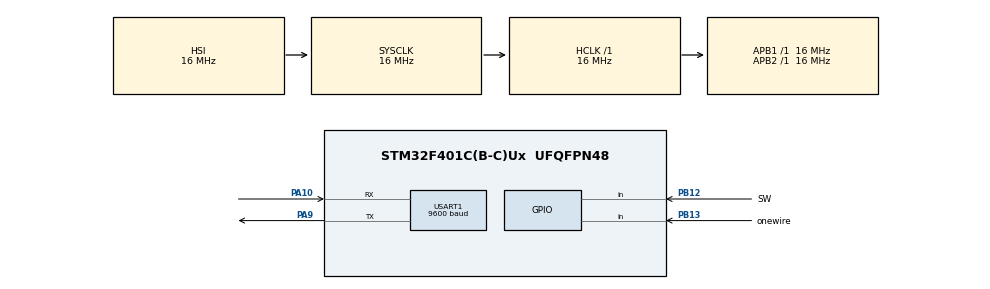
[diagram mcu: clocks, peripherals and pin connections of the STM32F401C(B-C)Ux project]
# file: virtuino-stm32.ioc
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Mcu.Family=STM32F4
Mcu.Name=STM32F401C(B-C)Ux
Mcu.Package=UFQFPN48
NVIC.PriorityGroup=NVIC_PRIORITYGROUP_4
PA10.Mode=Asynchronous
PA10.Signal=USART1_RX
PA9.Mode=Asynchronous
PA9.Signal=USART1_TX
PB12.GPIO_Label=SW
PB12.GPIO_PuPd=GPIO_PULLDOWN
PB12.Signal=GPIO_Input
PB13.GPIO_Label=onewire
PB13.Signal=GPIO_Input
ProjectManager.HeapSize=0x200
ProjectManager.StackSize=0x400
ProjectManager.TargetToolchain=STM32CubeIDE
RCC.AHBFreq_Value=16000000
RCC.APB1Freq_Value=16000000
RCC.APB2Freq_Value=16000000
RCC.CortexFreq_Value=16000000
RCC.HSE_VALUE=25000000
RCC.HSI_VALUE=16000000
RCC.LSE_VALUE=32768
RCC.SYSCLKFreq_VALUE=16000000
RCC.VCOOutputFreq_Value=192000000
USART1.BaudRate=9600
USART1.VirtualMode=VM_ASYNC
board=custom

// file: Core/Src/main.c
/* USER CODE BEGIN Header */
/**
  ******************************************************************************
  * @file           : main.c
  * @brief          : Main program body
  ******************************************************************************
  * @attention
  *
  * Copyright (c) 2025 STMicroelectronics.
  * All rights reserved.
  *
  * This software is licensed under terms that can be found in the LICENSE file
  * in the root directory of this software component.
  * If no LICENSE file comes with this software, it is provided AS-IS.
  *
  ******************************************************************************
  */
/* USER CODE END Header */
#include "main.h"

/* USER CODE BEGIN Includes */
#include "ds18b20.h"
#include"uart.h"
#include "pinout.h"

#include "stdio.h"
#include "stdint.h"
#include "stdlib.h"
#include "string.h"
/* USER CODE END Includes */

UART_HandleTypeDef huart1;

/* USER CODE BEGIN PV */
float temperatura;
char texto[100];
/* USER CODE END PV */

void SystemClock_Config(void);
static void MX_GPIO_Init(void);
static void MX_USART1_UART_Init(void);

int main(void)
{

  /* MCU Configuration--------------------------------------------------------*/

  /* Reset of all peripherals, Initializes the Flash interface and the Systick. */
  HAL_Init();

  /* Configure the system clock */
  SystemClock_Config();

  /* Initialize all configured peripherals */
  MX_GPIO_Init();
  MX_USART1_UART_Init();
  /* USER CODE BEGIN 2 */
 // uartx_write_text(&huart1, "HOLa\r\n");
     delay_Init();

  /* USER CODE END 2 */

  /* Infinite loop */
  /* USER CODE BEGIN WHILE */
  while (1)
  {

	  temperatura=DS18b20_temp();
	  //!A00=53.2$
	  sprintf(texto,"!A00=%.1f$",temperatura);
  uartx_write_text(&huart1, texto);

  if(PIN_READ(SW)==1)  uartx_write_text(&huart1, "!A01=1$");
  else  uartx_write_text(&huart1, "!A01=0$");

  delay_ms(200);
    /* USER CODE END WHILE */

  }
}

void SystemClock_Config(void)
{
  RCC_OscInitTypeDef RCC_OscInitStruct = {0};
  RCC_ClkInitTypeDef RCC_ClkInitStruct = {0};

  /** Configure the main internal regulator output voltage
  */
  __HAL_RCC_PWR_CLK_ENABLE();
  __HAL_PWR_VOLTAGESCALING_CONFIG(PWR_REGULATOR_VOLTAGE_SCALE2);

  /** Initializes the RCC Oscillators according to the specified parameters
  * in the RCC_OscInitTypeDef structure.
  */
  RCC_OscInitStruct.OscillatorType = RCC_OSCILLATORTYPE_HSI;
  RCC_OscInitStruct.HSIState = RCC_HSI_ON;
  RCC_OscInitStruct.HSICalibrationValue = RCC_HSICALIBRATION_DEFAULT;
  RCC_OscInitStruct.PLL.PLLState = RCC_PLL_NONE;
  if (HAL_RCC_OscConfig(&RCC_OscInitStruct) != HAL_OK)
  {
    Error_Handler();
  }

  /** Initializes the CPU, AHB and APB buses clocks
  */
  RCC_ClkInitStruct.ClockType = RCC_CLOCKTYPE_HCLK|RCC_CLOCKTYPE_SYSCLK
                              |RCC_CLOCKTYPE_PCLK1|RCC_CLOCKTYPE_PCLK2;
  RCC_ClkInitStruct.SYSCLKSource = RCC_SYSCLKSOURCE_HSI;
  RCC_ClkInitStruct.AHBCLKDivider = RCC_SYSCLK_DIV1;
  RCC_ClkInitStruct.APB1CLKDivider = RCC_HCLK_DIV1;
  RCC_ClkInitStruct.APB2CLKDivider = RCC_HCLK_DIV1;

  if (HAL_RCC_ClockConfig(&RCC_ClkInitStruct, FLASH_LATENCY_0) != HAL_OK)
  {
    Error_Handler();
  }
}

static void MX_USART1_UART_Init(void)
{

  huart1.Instance = USART1;
  huart1.Init.BaudRate = 9600;
  huart1.Init.WordLength = UART_WORDLENGTH_8B;
  huart1.Init.StopBits = UART_STOPBITS_1;
  huart1.Init.Parity = UART_PARITY_NONE;
  huart1.Init.Mode = UART_MODE_TX_RX;
  huart1.Init.HwFlowCtl = UART_HWCONTROL_NONE;
  huart1.Init.OverSampling = UART_OVERSAMPLING_16;
  if (HAL_UART_Init(&huart1) != HAL_OK)
  {
    Error_Handler();
  }

}

static void MX_GPIO_Init(void)
{
  GPIO_InitTypeDef GPIO_InitStruct = {0};

  /* GPIO Ports Clock Enable */
  __HAL_RCC_GPIOB_CLK_ENABLE();
  __HAL_RCC_GPIOA_CLK_ENABLE();

  /*Configure GPIO pin : SW_Pin */
  GPIO_InitStruct.Pin = SW_Pin;
  GPIO_InitStruct.Mode = GPIO_MODE_INPUT;
  GPIO_InitStruct.Pull = GPIO_PULLDOWN;
  HAL_GPIO_Init(SW_GPIO_Port, &GPIO_InitStruct);

  /*Configure GPIO pin : onewire_Pin */
  GPIO_InitStruct.Pin = onewire_Pin;
  GPIO_InitStruct.Mode = GPIO_MODE_INPUT;
  GPIO_InitStruct.Pull = GPIO_NOPULL;
  HAL_GPIO_Init(onewire_GPIO_Port, &GPIO_InitStruct);

}

void Error_Handler(void)
{
  __disable_irq();
  while (1)
  {
  }
}
